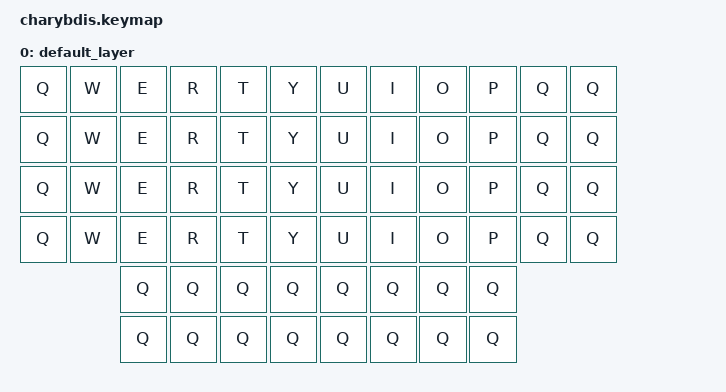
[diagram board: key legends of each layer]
#include <behaviors.dtsi>
#include <dt-bindings/zmk/mouse.h>
#include <dt-bindings/zmk/keys.h>
#include <dt-bindings/zmk/bt.h>
#include <dt-bindings/zmk/outputs.h>

/ {
    /*
    macros {
        ZMK_MACRO(neq,

        wait-ms = <0>;
        tap-ms = <20>;
        bindings = <&macro_tap &kp EXCL &kp EQUAL>;

        )
        ZMK_MACRO(

        arrow,
        wait-ms = <0>;
        tap-ms = <20>;
        bindings = <&macro_tap &kp MINUS &kp GT>;

        )
        ZMK_MACRO(

        shftab,
        wait-ms = <0>;
        tap-ms = <20>;
        bindings =
            <&macro_press &kp LSHFT>,
            <&macro_tap &kp TAB>,
            <&macro_release &kp LSHFT>;

        )
    };
    */

    behaviors {
        u_mt: u_mt {
            compatible = "zmk,behavior-hold-tap";
            label = "U_MT";
            bindings =
                <&kp>,
                <&kp>;

            #binding-cells = <2>;
            tapping-term-ms = <200>;
            flavor = "tap-preferred";
        };
        u_lt: u_lt {
            compatible = "zmk,behavior-hold-tap";
            label = "U_LT";
            bindings =
                <&mo>,
                <&kp>;

            #binding-cells = <2>;
            tapping-term-ms = <200>;
            flavor = "tap-preferred";
        };
        u_out_tog: u_out_tog {
            compatible = "zmk,behavior-mod-morph";
            label = "U_OUT_TOG";
            bindings =
                <&out OUT_TOG>,
                <&out OUT_USB>;

            #binding-cells = <0>;
            mods = <(MOD_LSFT|MOD_RSFT)>;
        };
        u_caps_word: u_caps_word {
            compatible = "zmk,behavior-mod-morph";
            label = "U_CAPS_WORD";
            bindings =
                <&caps_word>,
                <&kp CAPS>;

            #binding-cells = <0>;
            mods = <(MOD_LSFT|MOD_RSFT)>;
        };
    };

    keymap {
        compatible = "zmk,keymap";

        default_layer {
            bindings = <
                  &kp Q   &kp W    &kp E   &kp R   &kp T  &kp Y      &kp U     &kp I   &kp O   &kp P  &kp Q &kp Q
                  &kp Q   &kp W    &kp E   &kp R   &kp T  &kp Y      &kp U     &kp I   &kp O   &kp P  &kp Q &kp Q
                  &kp Q   &kp W    &kp E   &kp R   &kp T  &kp Y      &kp U     &kp I   &kp O   &kp P  &kp Q &kp Q
                  &kp Q   &kp W    &kp E   &kp R   &kp T  &kp Y      &kp U     &kp I   &kp O   &kp P  &kp Q &kp Q
                                   &kp Q   &kp Q   &kp Q  &kp Q      &kp Q     &kp Q   &kp Q   &kp Q
                                   &kp Q   &kp Q   &kp Q  &kp Q      &kp Q     &kp Q   &kp Q   &kp Q
            >;
        };
    };
};
